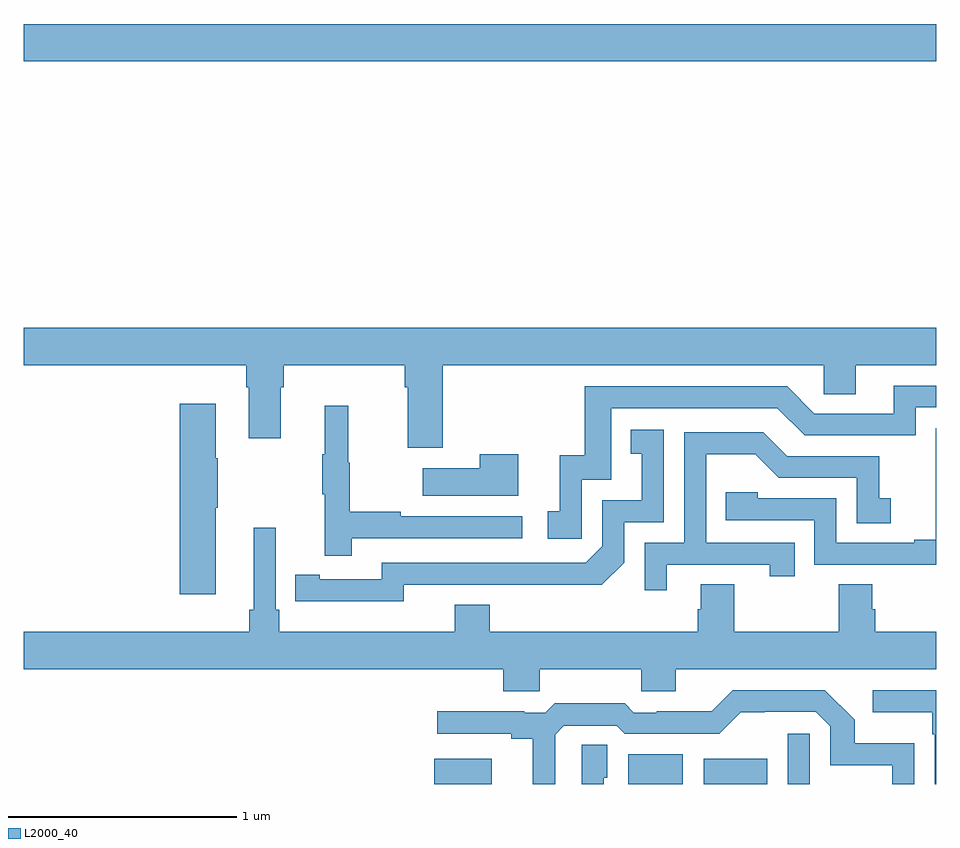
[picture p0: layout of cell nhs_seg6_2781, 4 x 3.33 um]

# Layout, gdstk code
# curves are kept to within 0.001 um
import gdstk
lib = gdstk.Library(unit=1e-6, precision=1e-09)
def R(c, l, rs):  # rectangles x0, y0, x1, y1
    for r in rs: c.add(gdstk.rectangle(r[:2], r[2:], *l))
def P(c, l, *ps):  # polygons
    for p in ps: c.add(gdstk.Polygon(p, *l))
L2000_40 = (2000, 40)

nhs_seg6_2781 = lib.new_cell('nhs_seg6_2781')
R(nhs_seg6_2781, L2000_40, [(276.8,945.5,277.051,945.61), (277.649,945.5,277.888,945.631), (277.982,945.5,278.26,945.61), (278.349,945.5,278.445,945.721), (275,948.668,279,948.832)])
P(nhs_seg6_2781, L2000_40, [(276.836,947.336),(278.508,947.336),(278.508,947.209),(278.647,947.209),(278.647,947.336),(279,947.336),(279,947.5),(275,947.5),(275,947.336),(275.975,947.336),(275.975,947.24),(275.987,947.24),(275.987,947.016),(276.127,947.016),(276.127,947.24),(276.14,947.24),(276.14,947.336),(276.671,947.336),(276.671,947.24),(276.683,947.24),(276.683,946.974),(276.836,946.974)],
  [(277.446,946.833),(277.575,946.833),(277.575,947.148),(278.304,947.148),(278.424,947.028),(278.91,947.028),(278.91,947.151),(279,947.151),(279,947.247),(278.813,947.247),(278.813,947.124),(278.466,947.124),(278.346,947.244),(277.459,947.244),(277.459,946.942),(277.349,946.942),(277.349,946.695),(277.296,946.695),(277.296,946.575),(277.446,946.575)],
  [(275.842,946.711),(275.85,946.711),(275.85,946.928),(275.842,946.928),(275.842,947.167),(275.684,947.167),(275.684,946.332),(275.842,946.332)],
  [(276.437,946.578),(277.186,946.578),(277.186,946.674),(276.653,946.674),(276.653,946.694),(276.43,946.694),(276.43,946.908),(276.422,946.908),(276.422,947.158),(276.32,947.158),(276.32,946.945),(276.309,946.945),(276.309,946.771),(276.32,946.771),(276.32,946.5),(276.437,946.5)],
  [(279,947.059),(278.998,947.059),(278.998,946.853),(278.999,946.853),(278.999,946.57),(278.903,946.57),(278.903,946.557),(278.562,946.557),(278.562,946.752),(278.217,946.752),(278.217,946.779),(278.077,946.779),(278.077,946.656),(278.466,946.656),(278.466,946.461),(279,946.461)],
  [(276.666,946.374),(277.534,946.373),(277.632,946.47),(277.632,946.647),(277.806,946.647),(277.806,947.053),(277.66,947.053),(277.66,946.947),(277.709,946.947),(277.709,946.743),(277.536,946.743),(277.536,946.542),(277.464,946.47),(276.57,946.47),(276.57,946.398),(276.298,946.398),(276.298,946.418),(276.19,946.418),(276.19,946.302),(276.666,946.301)],
  [(277.819,946.461),(278.27,946.461),(278.27,946.41),(278.381,946.41),(278.381,946.557),(277.992,946.557),(277.992,946.946),(278.206,946.946),(278.31,946.842),(278.652,946.842),(278.652,946.644),(278.8,946.644),(278.8,946.753),(278.751,946.753),(278.751,946.938),(278.347,946.938),(278.242,947.043),(277.896,947.043),(277.896,946.557),(277.722,946.557),(277.722,946.35),(277.819,946.35)],
  [(277.168,946.945),(276.998,946.945),(276.998,946.885),(276.749,946.885),(276.749,946.763),(277.168,946.763)],
  [(277.263,946.004),(277.708,946.004),(277.708,945.906),(277.858,945.906),(277.858,946.004),(279,946.004),(279,946.168),(278.732,946.168),(278.732,946.266),(278.719,946.266),(278.719,946.376),(278.572,946.376),(278.572,946.168),(278.115,946.168),(278.115,946.376),(277.967,946.376),(277.967,946.266),(277.955,946.266),(277.955,946.168),(277.043,946.168),(277.043,946.285),(276.89,946.285),(276.89,946.168),(276.119,946.168),(276.119,946.264),(276.105,946.264),(276.105,946.624),(276.008,946.624),(276.008,946.264),(275.989,946.264),(275.989,946.168),(275,946.168),(275,946.004),(277.103,946.004),(277.103,945.906),(277.263,945.906)],
  [(279,945.912),(278.721,945.912),(278.721,945.815),(278.982,945.815),(278.982,945.719),(278.994,945.719),(278.994,945.5),(279,945.5)],
  [(277.329,945.717),(277.368,945.756),(277.599,945.756),(277.635,945.72),(278.049,945.72),(278.144,945.815),(278.472,945.816),(278.535,945.753),(278.535,945.582),(278.808,945.582),(278.808,945.5),(278.904,945.5),(278.904,945.679),(278.643,945.679),(278.643,945.782),(278.512,945.912),(278.109,945.912),(278.015,945.818),(277.774,945.818),(277.774,945.813),(277.674,945.813),(277.635,945.853),(277.327,945.853),(277.287,945.813),(277.193,945.813),(277.193,945.818),(276.813,945.818),(276.813,945.72),(277.136,945.72),(277.136,945.698),(277.232,945.698),(277.232,945.5),(277.329,945.5)],
  [(277.542,945.528),(277.558,945.528),(277.558,945.671),(277.446,945.671),(277.446,945.5),(277.542,945.5)])

lib.write_gds('nhs_seg6_2781.gds')
